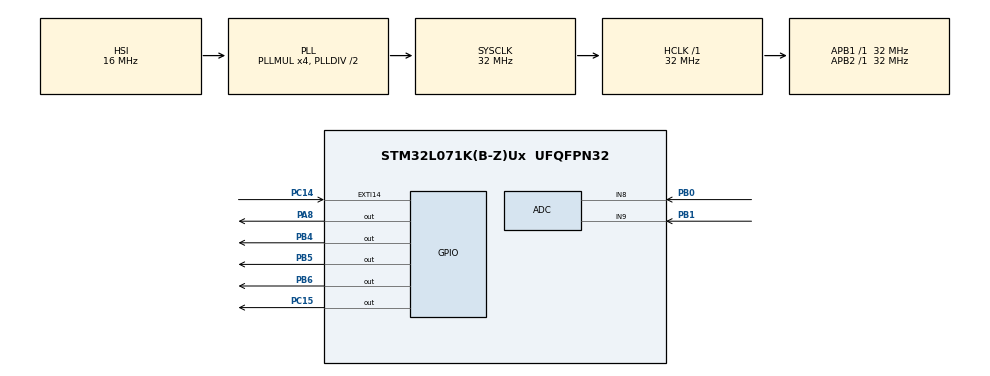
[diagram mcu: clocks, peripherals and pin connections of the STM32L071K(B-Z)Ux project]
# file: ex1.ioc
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ADC.DiscontinuousConvMode=ENABLE
Mcu.Family=STM32L0
Mcu.Name=STM32L071K(B-Z)Ux
Mcu.Package=UFQFPN32
NVIC.EXTI4_15_IRQn=true\:0\:0\:false\:false\:true\:true\:true
PA13.Mode=Serial_Wire
PA13.Signal=SYS_SWDIO
PA14.Mode=Serial_Wire
PA14.Signal=SYS_SWCLK
PA8.Signal=GPIO_Output
PB0.Mode=IN8
PB0.Signal=ADC_IN8
PB1.Mode=IN9
PB1.Signal=ADC_IN9
PB4.Signal=GPIO_Output
PB5.Signal=GPIO_Output
PB6.Signal=GPIO_Output
PC14-OSC32_IN.Signal=GPXTI14
PC15-OSC32_OUT.Signal=GPIO_Output
ProjectManager.HeapSize=0x200
ProjectManager.StackSize=0x400
ProjectManager.TargetToolchain=MDK-ARM V5
RCC.AHBFreq_Value=32000000
RCC.APB1Freq_Value=32000000
RCC.APB1TimFreq_Value=32000000
RCC.APB2Freq_Value=32000000
RCC.APB2TimFreq_Value=32000000
RCC.HCLKFreq_Value=32000000
RCC.HSI16_VALUE=16000000
RCC.HSI_VALUE=16000000
RCC.LSE_VALUE=32768
RCC.MSI_VALUE=2097000
RCC.PLLMUL=RCC_PLLMUL_4
RCC.SYSCLKFreq_VALUE=32000000
RCC.SYSCLKSource=RCC_SYSCLKSOURCE_PLLCLK
RCC.VCOOutputFreq_Value=64000000
RTC.Format=RTC_FORMAT_BIN
RTC.SynchPrediv=307
VP_RTC_VS_RTC_Activate.Mode=RTC_Enabled
VP_RTC_VS_RTC_Calendar.Mode=RTC_Calendar
board=custom

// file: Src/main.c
/* USER CODE BEGIN Header */
/**
  ******************************************************************************
  * @file           : main.c
  * @brief          : Main program body
  ******************************************************************************
  * @attention
  *
  * <h2><center>&copy; Copyright (c) 2019 STMicroelectronics.
  * All rights reserved.</center></h2>
  *
  * This software component is licensed by ST under BSD 3-Clause license,
  * the "License"; You may not use this file except in compliance with the
  * License. You may obtain a copy of the License at:
  *                        opensource.org/licenses/BSD-3-Clause
  *
  ******************************************************************************
  */
/* USER CODE END Header */

#include "main.h"
#include "adc.h"
#include "rtc.h"
#include "gpio.h"

/* USER CODE BEGIN Includes */
#include "stm32l0xx_hal.h"
#include "zm4xx_gpio.h"
#include "spi.h"
#include "timer.h"
#include "stddef.h"
#include "sx127x_lora.h"

#define FREQ  (433000000)
void SystemClock_Config(void);
void Hardware_Init(void);
radio_handle_t  handle;

unsigned int sock=0,key_i=0,key;
/* USER CODE END Includes */

void SystemClock_Config(void);

/* USER CODE BEGIN 0 */
void Task_BrdInit(void)
{
    HAL_GPIO_WritePin(GPIOC, GPIO_PIN_15, GPIO_PIN_SET);

    OLED_PowerControl(ENABLE);

    HAL_Delay(200);
    OLED_Init();
    OLED_Clear();

    OLED_ShowString(0, 0, (unsigned char *)"                ", 16);
    OLED_ShowString(0, 2, (unsigned char *)"                ", 16);
}
void LoRa_Init(void)
{

	handle = radio_zm4xx_inst_init(spi_recv_byte,spi_send_byte,zm4xx_rst_pin_set,zm4xx_sel_pin_set,delay_ms,delay_us);

	if(handle != NULL){
		if(RADIO_RET_OK == radio_freq_set(handle, FREQ)){
				HAL_GPIO_WritePin(GPIOC, GPIO_PIN_15,GPIO_PIN_RESET);
		}

		radio_mode_set(handle, RX_MODE);	//Receive Mode
	}
}
/* USER CODE END 0 */

int main(void)
{
  /* USER CODE BEGIN 1 */
    char lcdLine_1st_line[16];
    char lcdLine_2st_line[16];
		unsigned int i,clock1[10],h,m,s;
		float adc[2];

	int ret = RADIO_RET_OK;

    uint16_t len = 0;
//		uint8_t rx[256];
//		uint8_t tx = 0x55;
		uint8_t cntr = 0;

	uint8_t rx[5];
		uint8_t tx[] = {0x18,0x01,0x44,0x0b,0x01};

  /* USER CODE END 1 */

  /* MCU Configuration--------------------------------------------------------*/

  /* Reset of all peripherals, Initializes the Flash interface and the Systick. */
  HAL_Init();

  /* Configure the system clock */
  SystemClock_Config();

  /* Initialize all configured peripherals */
  MX_GPIO_Init();
  MX_ADC_Init();
  MX_RTC_Init();
  /* USER CODE BEGIN 2 */
    Task_BrdInit();
		zm4xx_pin_init(); //LORA��Ҫ
    spi_init();//LORA��Ҫ
		LoRa_Init();
//		unsigned int key_scan(void);
  /* USER CODE END 2 */

  /* Infinite loop */
    while (1)
    {

    /* USER CODE BEGIN 3 */
			if(sock==0)
			{
				for(i=0;i<=1;i++)
				{
					HAL_ADC_Start(&hadc);
					HAL_ADC_PollForConversion(&hadc,100);
					adc[i]=HAL_ADC_GetValue(&hadc)*(3.3/4095);
				}
				if(adc[1]>adc[0]) HAL_GPIO_WritePin(GPIOC, GPIO_PIN_15, GPIO_PIN_RESET);
				else HAL_GPIO_WritePin(GPIOC, GPIO_PIN_15, GPIO_PIN_SET);
				sprintf(lcdLine_1st_line, "V1:%.2f			    ",adc[1]);
				sprintf(lcdLine_2st_line, "V2:%.2f			    ",adc[0]);
				OLED_ShowString(0, 0, (unsigned char *)lcdLine_1st_line, 16);
				OLED_ShowString(0, 2, (unsigned char *)lcdLine_2st_line, 16);
			}
			if(sock==1)
			{
				HAL_RTC_GetTime(&hrtc, &sTime, RTC_FORMAT_BIN);
				HAL_RTC_GetDate(&hrtc, &sDate, RTC_FORMAT_BIN);
				sprintf(lcdLine_1st_line, "				  RTC		      ");
				sprintf(lcdLine_2st_line, "		 %2d-%2d-%2d     ",sTime.Hours,sTime.Minutes,sTime.Seconds);
				OLED_ShowString(0, 0, (unsigned char *)lcdLine_1st_line, 16);
				OLED_ShowString(0, 2, (unsigned char *)lcdLine_2st_line, 16);
			}

			radio_mode_set(handle, RX_MODE);
			ret = radio_buf_recv(handle, rx, &len);
			i=5000;
			while((i--)&&(ret != RADIO_RET_OK))
				ret = radio_buf_recv(handle, rx, &len);
			if(ret == RADIO_RET_OK)
			{
				sscanf((char *)rx,"%d-%d-%d",&h,&m,&s);
				sTime.Hours=h;
				sTime.Minutes=m;
				sTime.Seconds=s;
				HAL_RTC_SetTime(&hrtc, &sTime, RTC_FORMAT_BIN);
				HAL_GPIO_TogglePin(GPIOC, GPIO_PIN_15);
			}
			;
    }
  /* USER CODE END 3 */
}

void HAL_GPIO_EXTI_Callback(uint16_t GPIO_Pin)
{
	sock++;
	if(sock==2) sock=0;
}

void SystemClock_Config(void)
{
  RCC_OscInitTypeDef RCC_OscInitStruct = {0};
  RCC_ClkInitTypeDef RCC_ClkInitStruct = {0};
  RCC_PeriphCLKInitTypeDef PeriphClkInit = {0};

  /** Configure the main internal regulator output voltage
  */
  __HAL_PWR_VOLTAGESCALING_CONFIG(PWR_REGULATOR_VOLTAGE_SCALE1);
  /** Initializes the CPU, AHB and APB busses clocks
  */
  RCC_OscInitStruct.OscillatorType = RCC_OSCILLATORTYPE_HSI|RCC_OSCILLATORTYPE_LSI;
  RCC_OscInitStruct.HSIState = RCC_HSI_ON;
  RCC_OscInitStruct.HSICalibrationValue = RCC_HSICALIBRATION_DEFAULT;
  RCC_OscInitStruct.LSIState = RCC_LSI_ON;
  RCC_OscInitStruct.PLL.PLLState = RCC_PLL_ON;
  RCC_OscInitStruct.PLL.PLLSource = RCC_PLLSOURCE_HSI;
  RCC_OscInitStruct.PLL.PLLMUL = RCC_PLLMUL_4;
  RCC_OscInitStruct.PLL.PLLDIV = RCC_PLLDIV_2;
  if (HAL_RCC_OscConfig(&RCC_OscInitStruct) != HAL_OK)
  {
    Error_Handler();
  }
  /** Initializes the CPU, AHB and APB busses clocks
  */
  RCC_ClkInitStruct.ClockType = RCC_CLOCKTYPE_HCLK|RCC_CLOCKTYPE_SYSCLK
                              |RCC_CLOCKTYPE_PCLK1|RCC_CLOCKTYPE_PCLK2;
  RCC_ClkInitStruct.SYSCLKSource = RCC_SYSCLKSOURCE_PLLCLK;
  RCC_ClkInitStruct.AHBCLKDivider = RCC_SYSCLK_DIV1;
  RCC_ClkInitStruct.APB1CLKDivider = RCC_HCLK_DIV1;
  RCC_ClkInitStruct.APB2CLKDivider = RCC_HCLK_DIV1;

  if (HAL_RCC_ClockConfig(&RCC_ClkInitStruct, FLASH_LATENCY_1) != HAL_OK)
  {
    Error_Handler();
  }
  PeriphClkInit.PeriphClockSelection = RCC_PERIPHCLK_RTC;
  PeriphClkInit.RTCClockSelection = RCC_RTCCLKSOURCE_LSI;
  if (HAL_RCCEx_PeriphCLKConfig(&PeriphClkInit) != HAL_OK)
  {
    Error_Handler();
  }
}

/* USER CODE BEGIN 4 */
//unsigned int key_scan()
//{
//	if(HAL_GPIO_ReadPin(GPIOC, GPIO_PIN_14)==1)
//	{
//		if(HAL_GPIO_ReadPin(GPIOC, GPIO_PIN_14)==1)
//		{
//			key_i++;
//			switch (key_i)
//			{
//				case 1:key=1;break;
//				case 2:key=2;break;
//				default :key=0;key_i=0;break;
//			}
//		}
//	}
//	return key;
//}
//ret = radio_buf_recv(handle, &rx, &len);
//			if(ret == RADIO_RET_OK){
//				if(rx == 0xAA){
//						HAL_GPIO_TogglePin(GPIOC, GPIO_PIN_15);
//				}
//			}
/* USER CODE END 4 */

void Error_Handler(void)
{
}

/************************ (C) COPYRIGHT STMicroelectronics *****END OF FILE****/
